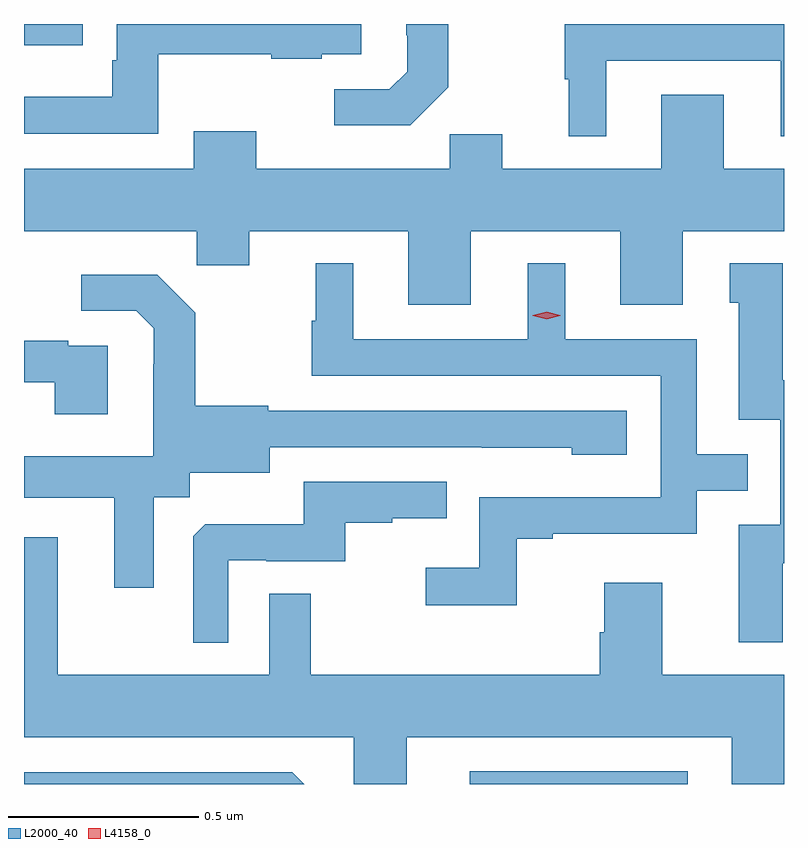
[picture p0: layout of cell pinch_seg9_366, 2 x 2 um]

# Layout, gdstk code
import gdstk
lib = gdstk.Library(unit=1e-6, precision=1e-09)
def R(c, l, rs):  # rectangles x0, y0, x1, y1
    for r in rs: c.add(gdstk.rectangle(r[:2], r[2:], *l))
def P(c, l, *ps):  # polygons
    for p in ps: c.add(gdstk.Polygon(p, *l))
L2000_40 = (2000, 40)
L4158_0 = (4158, 0)

pinch_seg9_366 = lib.new_cell('pinch_seg9_366')
R(pinch_seg9_366, L2000_40, [(582.731,1189.637,583.305,1189.671), (581.558,1191.581,581.712,1191.637)])
P(pinch_seg9_366, L2000_40, [(582.675,1191.471),(582.675,1191.637),(582.564,1191.637),(582.564,1191.607),(582.566,1191.607),(582.566,1191.512),(582.519,1191.465),(582.375,1191.465),(582.375,1191.371),(582.575,1191.371)],
  [(581.911,1191.557),(582.209,1191.557),(582.209,1191.546),(582.341,1191.546),(582.341,1191.558),(582.445,1191.558),(582.445,1191.637),(581.802,1191.637),(581.802,1191.541),(581.79,1191.541),(581.79,1191.445),(581.558,1191.445),(581.558,1191.348),(581.911,1191.348)],
  [(583.09,1191.54),(583.55,1191.54),(583.55,1191.341),(583.558,1191.341),(583.558,1191.636),(582.981,1191.636),(582.981,1191.492),(582.992,1191.492),(582.992,1191.341),(583.09,1191.341)],
  [(582.169,1191.355),(582.005,1191.355),(582.005,1191.256),(581.558,1191.256),(581.558,1191.092),(582.013,1191.092),(582.013,1191.002),(582.151,1191.002),(582.151,1191.092),(582.569,1191.092),(582.569,1190.898),(582.733,1190.898),(582.733,1191.092),(583.127,1191.092),(583.127,1190.898),(583.291,1190.898),(583.291,1191.092),(583.558,1191.092),(583.558,1191.256),(583.399,1191.256),(583.399,1191.451),(583.235,1191.451),(583.235,1191.256),(582.817,1191.256),(582.817,1191.347),(582.679,1191.347),(582.679,1191.256),(582.169,1191.256)],
  [(583.555,1190.218),(583.558,1190.218),(583.558,1190.699),(583.555,1190.699),(583.555,1191.007),(583.415,1191.007),(583.415,1190.904),(583.439,1190.904),(583.439,1190.595),(583.548,1190.595),(583.548,1190.319),(583.439,1190.319),(583.439,1190.01),(583.555,1190.01)],
  [(582.855,1190.283),(582.949,1190.283),(582.949,1190.295),(583.329,1190.295),(583.329,1190.409),(583.463,1190.409),(583.463,1190.505),(583.329,1190.505),(583.329,1190.808),(582.982,1190.808),(582.982,1191.007),(582.884,1191.007),(582.884,1190.808),(582.424,1190.808),(582.424,1191.007),(582.326,1191.007),(582.326,1190.856),(582.315,1190.856),(582.315,1190.712),(583.233,1190.712),(583.233,1190.391),(582.756,1190.391),(582.756,1190.206),(582.615,1190.206),(582.615,1190.108),(582.855,1190.108)],
  [(581.899,1190.392),(581.994,1190.392),(581.994,1190.456),(582.205,1190.456),(582.205,1190.523),(582.763,1190.523),(582.763,1190.522),(582.999,1190.522),(582.999,1190.504),(583.144,1190.504),(583.144,1190.619),(582.201,1190.619),(582.201,1190.632),(582.009,1190.632),(582.009,1190.877),(581.909,1190.977),(581.709,1190.977),(581.709,1190.883),(581.853,1190.883),(581.9,1190.836),(581.9,1190.741),(581.898,1190.741),(581.898,1190.5),(581.558,1190.5),(581.558,1190.39),(581.795,1190.39),(581.795,1190.154),(581.899,1190.154)],
  [(581.779,1190.79),(581.675,1190.79),(581.675,1190.803),(581.558,1190.803),(581.558,1190.694),(581.639,1190.694),(581.639,1190.61),(581.779,1190.61)],
  [(582.096,1190.226),(582.196,1190.226),(582.196,1190.223),(582.404,1190.223),(582.404,1190.325),(582.527,1190.325),(582.527,1190.336),(582.671,1190.336),(582.671,1190.433),(582.294,1190.433),(582.294,1190.321),(582.035,1190.321),(582.003,1190.289),(582.003,1190.009),(582.096,1190.009)],
  [(582.565,1189.76),(583.421,1189.76),(583.421,1189.637),(583.558,1189.637),(583.558,1189.924),(583.237,1189.924),(583.237,1190.167),(583.085,1190.167),(583.085,1190.037),(583.073,1190.037),(583.073,1189.924),(582.313,1189.924),(582.313,1190.138),(582.204,1190.138),(582.204,1189.924),(581.647,1189.924),(581.647,1190.287),(581.558,1190.287),(581.558,1189.76),(582.426,1189.76),(582.426,1189.637),(582.565,1189.637)],
  [(582.264,1189.668),(581.558,1189.668),(581.558,1189.637),(582.295,1189.637)])
P(pinch_seg9_366, L4158_0, [(582.933,1190.86),(582.897,1190.869),(582.897,1190.87),(582.897,1190.87),(582.933,1190.88),(582.969,1190.87),(582.969,1190.87),(582.969,1190.869)])

lib.write_gds('pinch_seg9_366.gds')
